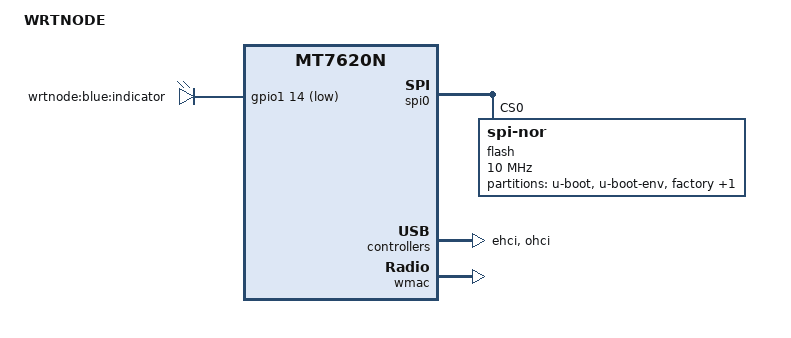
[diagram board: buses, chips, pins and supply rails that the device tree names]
/dts-v1/;

#include "mt7620n.dtsi"

#include <dt-bindings/gpio/gpio.h>

/ {
	compatible = "wrtnode,wrtnode", "ralink,mt7620n-soc";
	model = "WRTNODE";

	aliases {
		led-boot = &led_indicator;
		led-failsafe = &led_indicator;
		led-running = &led_indicator;
		led-upgrade = &led_indicator;
	};

	leds {
		compatible = "gpio-leds";

		led_indicator: indicator {
			label = "wrtnode:blue:indicator";
			gpios = <&gpio1 14 GPIO_ACTIVE_LOW>;
		};
	};
};

&gpio1 {
	status = "okay";
};

&gpio2 {
	status = "okay";
};

&gpio3 {
	status = "okay";
};

&spi0 {
	status = "okay";

	flash@0 {
		compatible = "jedec,spi-nor";
		reg = <0>;
		spi-max-frequency = <10000000>;

		partitions {
			compatible = "fixed-partitions";
			#address-cells = <1>;
			#size-cells = <1>;

			partition@0 {
				label = "u-boot";
				reg = <0x0 0x30000>;
				read-only;
			};

			partition@30000 {
				label = "u-boot-env";
				reg = <0x30000 0x10000>;
				read-only;
			};

			factory: partition@40000 {
				label = "factory";
				reg = <0x40000 0x10000>;
				read-only;
			};

			partition@50000 {
				compatible = "denx,uimage";
				label = "firmware";
				reg = <0x50000 0xfb0000>;
			};
		};
	};
};

&ehci {
	status = "okay";
};

&ohci {
	status = "okay";
};

&ethernet {
	mtd-mac-address = <&factory 0x4>;

	mediatek,portmap = "wllll";
};

&wmac {
	ralink,mtd-eeprom = <&factory 0x0>;
};

&state_default {
	default {
		groups = "ephy", "wled", "pa", "i2c", "wdt", "uartf", "spi refclk";
		function = "gpio";
	};
};
